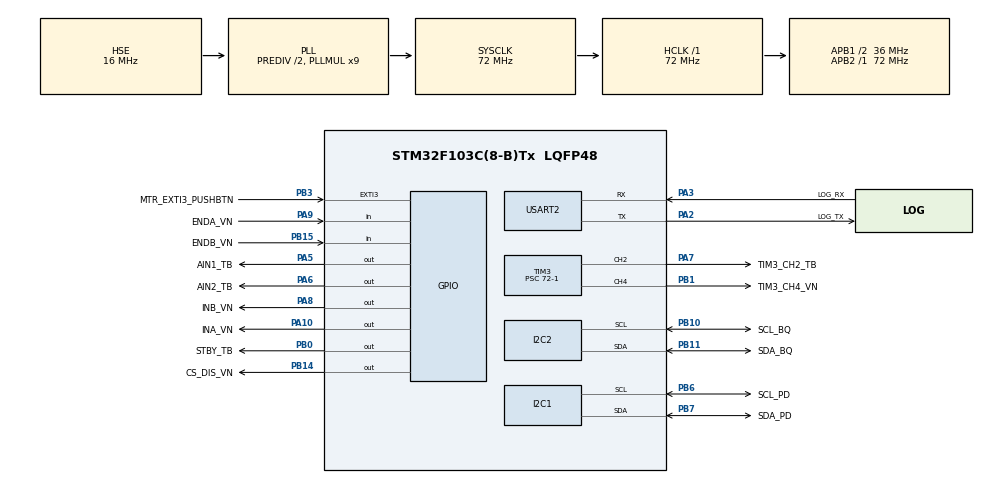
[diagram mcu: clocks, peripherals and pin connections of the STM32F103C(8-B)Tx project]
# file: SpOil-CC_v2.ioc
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FREERTOS.BinarySemaphores01=vnTaskSem,Dynamic,NULL,Available;tbTaskSem,Dynamic,NULL,Available
FREERTOS.Tasks01=tbTask,40,128,tb6612fngTask,Default,NULL,Dynamic,NULL,NULL;apTask,32,128,ap33772sTask,Default,NULL,Dynamic,NULL,NULL;bqTask,24,128,bq25798Task,Default,NULL,Dynamic,NULL,NULL;vnTask,40,128,vnh5180aTask,Default,NULL,Dynamic,NULL,NULL
FREERTOS.configUSE_NEWLIB_REENTRANT=1
Mcu.Family=STM32F1
Mcu.Name=STM32F103C(8-B)Tx
Mcu.Package=LQFP48
NVIC.EXTI3_IRQn=true\:5\:0\:false\:false\:true\:false\:true\:true\:true
NVIC.PriorityGroup=NVIC_PRIORITYGROUP_4
NVIC.TIM2_IRQn=true\:15\:0\:false\:false\:true\:false\:false\:true\:true
NVIC.TimeBase=TIM2_IRQn
NVIC.TimeBaseIP=TIM2
PA10.GPIO_Label=INA_VN
PA10.Signal=GPIO_Output
PA13.GPIO_Label=SWDIO
PA13.Mode=Serial_Wire
PA13.Signal=SYS_JTMS-SWDIO
PA14.GPIO_Label=SWCLK
PA14.Mode=Serial_Wire
PA14.Signal=SYS_JTCK-SWCLK
PA2.GPIO_Label=LOG_TX
PA2.Mode=Asynchronous
PA2.Signal=USART2_TX
PA3.GPIO_Label=LOG_RX
PA3.Mode=Asynchronous
PA3.Signal=USART2_RX
PA5.GPIO_Label=AIN1_TB
PA5.Signal=GPIO_Output
PA6.GPIO_Label=AIN2_TB
PA6.Signal=GPIO_Output
PA7.GPIO_Label=TIM3_CH2_TB
PA7.Signal=S_TIM3_CH2
PA8.GPIO_Label=INB_VN
PA8.Signal=GPIO_Output
PA9.GPIO_Label=ENDA_VN
PA9.Signal=GPIO_Input
PB0.GPIO_Label=STBY_TB
PB0.Signal=GPIO_Output
PB1.GPIO_Label=TIM3_CH4_VN
PB1.Signal=S_TIM3_CH4
PB10.GPIO_Label=SCL_BQ
PB10.Mode=I2C
PB10.Signal=I2C2_SCL
PB11.GPIO_Label=SDA_BQ
PB11.Mode=I2C
PB11.Signal=I2C2_SDA
PB14.GPIO_Label=CS_DIS_VN
PB14.Signal=GPIO_Output
PB15.GPIO_Label=ENDB_VN
PB15.Signal=GPIO_Input
PB3.GPIO_Label=MTR_EXTI3_PUSHBTN
PB3.GPIO_PuPd=GPIO_NOPULL
PB3.Signal=GPXTI3
PB6.GPIO_Label=SCL_PD
PB6.Mode=I2C
PB6.Signal=I2C1_SCL
PB7.GPIO_Label=SDA_PD
PB7.Mode=I2C
PB7.Signal=I2C1_SDA
PD0-OSC_IN.Mode=HSE-External-Oscillator
PD0-OSC_IN.Signal=RCC_OSC_IN
PD1-OSC_OUT.Mode=HSE-External-Oscillator
PD1-OSC_OUT.Signal=RCC_OSC_OUT
ProjectManager.HeapSize=0x200
ProjectManager.StackSize=0x400
ProjectManager.TargetToolchain=STM32CubeIDE
RCC.AHBFreq_Value=72000000
RCC.APB1CLKDivider=RCC_HCLK_DIV2
RCC.APB1Freq_Value=36000000
RCC.APB1TimFreq_Value=72000000
RCC.APB2Freq_Value=72000000
RCC.APB2TimFreq_Value=72000000
RCC.HCLKFreq_Value=72000000
RCC.HSEDivPLL=RCC_HSE_PREDIV_DIV2
RCC.HSE_VALUE=16000000
RCC.PLLMUL=RCC_PLL_MUL9
RCC.PLLSourceVirtual=RCC_PLLSOURCE_HSE
RCC.SYSCLKFreq_VALUE=72000000
RCC.SYSCLKSource=RCC_SYSCLKSOURCE_PLLCLK
RCC.USBFreq_Value=72000000
SH.S_TIM3_CH2.0=TIM3_CH2,PWM Generation2 CH2
SH.S_TIM3_CH4.0=TIM3_CH4,PWM Generation4 CH4
TIM3.Channel-PWM\ Generation2\ CH2=TIM_CHANNEL_2
TIM3.Channel-PWM\ Generation4\ CH4=TIM_CHANNEL_4
TIM3.Period=100
TIM3.Prescaler=72-1
USART2.VirtualMode=VM_ASYNC
VP_FREERTOS_VS_CMSIS_V2.Mode=CMSIS_V2
VP_SYS_VS_tim2.Mode=TIM2
VP_TIM3_VS_ClockSourceINT.Mode=Internal
board=custom

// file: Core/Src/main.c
/*USER CODE BEGIN Header */
/**
  ******************************************************************************
  * @file           : main.c
  * @brief          : Main program body
  ******************************************************************************
  * @attention
  *
  * Copyright (c) 2026 STMicroelectronics.
  * All rights reserved.
  *
  * This software is licensed under terms that can be found in the LICENSE file
  * in the root directory of this software component.
  * If no LICENSE file comes with this software, it is provided AS-IS.
  *
  ******************************************************************************
  */
/* USER CODE END Header */
#include "main.h"
#include "cmsis_os.h"

/* USER CODE BEGIN Includes */
#include "FreeRTOS.h"
#include "semphr.h"
#include "tb6612fng.h"
#include "vnh5180a.h"
#include "bq25798.h"
#include "bq25798_int.h"
#include "bqApp.h"
#include "ap33772s.h"
#include "ap33772s_int.h"
#include "apApp.h"
/* USER CODE END Includes */

I2C_HandleTypeDef hi2c1;
I2C_HandleTypeDef hi2c2;

TIM_HandleTypeDef htim3;

UART_HandleTypeDef huart2;

/* Definitions for tbTask */
osThreadId_t tbTaskHandle;
const osThreadAttr_t tbTask_attributes = {
  .name = "tbTask",
  .stack_size = 128 * 4,
  .priority = (osPriority_t) osPriorityHigh,
};

/* Definitions for apTask */
osThreadId_t apTaskHandle;
const osThreadAttr_t apTask_attributes = {
  .name = "apTask",
  .stack_size = 128 * 4,
  .priority = (osPriority_t) osPriorityAboveNormal,
};

/* Definitions for bqTask */
osThreadId_t bqTaskHandle;
const osThreadAttr_t bqTask_attributes = {
  .name = "bqTask",
  .stack_size = 128 * 4,
  .priority = (osPriority_t) osPriorityNormal,
};

/* Definitions for vnTask */
osThreadId_t vnTaskHandle;
const osThreadAttr_t vnTask_attributes = {
  .name = "vnTask",
  .stack_size = 128 * 4,
  .priority = (osPriority_t) osPriorityHigh,
};

/* Definitions for vnTaskSem */
osSemaphoreId_t vnTaskSemHandle;
const osSemaphoreAttr_t vnTaskSem_attributes = {
  .name = "vnTaskSem"
};

/* Definitions for tbTaskSem */
osSemaphoreId_t tbTaskSemHandle;
const osSemaphoreAttr_t tbTaskSem_attributes = {
  .name = "tbTaskSem"
};

/* USER CODE BEGIN PV */
struct bq25790PartInfo p;
struct bq25790Status1_3 q;
struct bq25790StatusFault r;
byte ap_status;

int vbusVoltagemV;
int vbusCurrentmA;
int linearmotorsequencecounter = 0;
/* USER CODE END PV */

void SystemClock_Config(void);
static void MX_GPIO_Init(void);
static void MX_TIM3_Init(void);
static void MX_USART2_UART_Init(void);
static void MX_I2C1_Init(void);
static void MX_I2C2_Init(void);
void tb6612fngTask(void *argument);
void ap33772sTask(void *argument);
void bq25798Task(void *argument);
void vnh5180aTask(void *argument);

int main(void)
{

  /* MCU Configuration--------------------------------------------------------*/

  /* Reset of all peripherals, Initializes the Flash interface and the Systick. */
  HAL_Init();

  /* Configure the system clock */
  SystemClock_Config();

  /* Initialize all configured peripherals */
  MX_GPIO_Init();
  MX_TIM3_Init();
  MX_USART2_UART_Init();
  MX_I2C1_Init();
  MX_I2C2_Init();
  /* USER CODE BEGIN 2 */

	tbSetStndbyPin(LOW);

  /* USER CODE END 2 */

  /* Init scheduler */
  osKernelInitialize();

  /* Create the semaphores(s) */
  /* creation of vnTaskSem */
  vnTaskSemHandle = osSemaphoreNew(1, 0, &vnTaskSem_attributes);

  /* creation of tbTaskSem */
  tbTaskSemHandle = osSemaphoreNew(1, 0, &tbTaskSem_attributes);

  /* Create the thread(s) */
  /* creation of tbTask */
  tbTaskHandle = osThreadNew(tb6612fngTask, NULL, &tbTask_attributes);

  /* creation of apTask */
  apTaskHandle = osThreadNew(ap33772sTask, NULL, &apTask_attributes);

  /* creation of bqTask */
  bqTaskHandle = osThreadNew(bq25798Task, NULL, &bqTask_attributes);

  /* creation of vnTask */
  vnTaskHandle = osThreadNew(vnh5180aTask, NULL, &vnTask_attributes);

  /* Start scheduler */
  osKernelStart();

  /* We should never get here as control is now taken by the scheduler */

  /* Infinite loop */
  while (1)
  {

  }
}

void SystemClock_Config(void)
{
  RCC_OscInitTypeDef RCC_OscInitStruct = {0};
  RCC_ClkInitTypeDef RCC_ClkInitStruct = {0};

  /** Initializes the RCC Oscillators according to the specified parameters
  * in the RCC_OscInitTypeDef structure.
  */
  RCC_OscInitStruct.OscillatorType = RCC_OSCILLATORTYPE_HSE;
  RCC_OscInitStruct.HSEState = RCC_HSE_ON;
  RCC_OscInitStruct.HSEPredivValue = RCC_HSE_PREDIV_DIV2;
  RCC_OscInitStruct.HSIState = RCC_HSI_ON;
  RCC_OscInitStruct.PLL.PLLState = RCC_PLL_ON;
  RCC_OscInitStruct.PLL.PLLSource = RCC_PLLSOURCE_HSE;
  RCC_OscInitStruct.PLL.PLLMUL = RCC_PLL_MUL9;
  if (HAL_RCC_OscConfig(&RCC_OscInitStruct) != HAL_OK)
  {
    Error_Handler();
  }

  /** Initializes the CPU, AHB and APB buses clocks
  */
  RCC_ClkInitStruct.ClockType = RCC_CLOCKTYPE_HCLK|RCC_CLOCKTYPE_SYSCLK
                              |RCC_CLOCKTYPE_PCLK1|RCC_CLOCKTYPE_PCLK2;
  RCC_ClkInitStruct.SYSCLKSource = RCC_SYSCLKSOURCE_PLLCLK;
  RCC_ClkInitStruct.AHBCLKDivider = RCC_SYSCLK_DIV1;
  RCC_ClkInitStruct.APB1CLKDivider = RCC_HCLK_DIV2;
  RCC_ClkInitStruct.APB2CLKDivider = RCC_HCLK_DIV1;

  if (HAL_RCC_ClockConfig(&RCC_ClkInitStruct, FLASH_LATENCY_2) != HAL_OK)
  {
    Error_Handler();
  }
}

static void MX_I2C1_Init(void)
{

  hi2c1.Instance = I2C1;
  hi2c1.Init.ClockSpeed = 100000;
  hi2c1.Init.DutyCycle = I2C_DUTYCYCLE_2;
  hi2c1.Init.OwnAddress1 = 0;
  hi2c1.Init.AddressingMode = I2C_ADDRESSINGMODE_7BIT;
  hi2c1.Init.DualAddressMode = I2C_DUALADDRESS_DISABLE;
  hi2c1.Init.OwnAddress2 = 0;
  hi2c1.Init.GeneralCallMode = I2C_GENERALCALL_DISABLE;
  hi2c1.Init.NoStretchMode = I2C_NOSTRETCH_DISABLE;
  if (HAL_I2C_Init(&hi2c1) != HAL_OK)
  {
    Error_Handler();
  }

}

static void MX_I2C2_Init(void)
{

  hi2c2.Instance = I2C2;
  hi2c2.Init.ClockSpeed = 100000;
  hi2c2.Init.DutyCycle = I2C_DUTYCYCLE_2;
  hi2c2.Init.OwnAddress1 = 0;
  hi2c2.Init.AddressingMode = I2C_ADDRESSINGMODE_7BIT;
  hi2c2.Init.DualAddressMode = I2C_DUALADDRESS_DISABLE;
  hi2c2.Init.OwnAddress2 = 0;
  hi2c2.Init.GeneralCallMode = I2C_GENERALCALL_DISABLE;
  hi2c2.Init.NoStretchMode = I2C_NOSTRETCH_DISABLE;
  if (HAL_I2C_Init(&hi2c2) != HAL_OK)
  {
    Error_Handler();
  }

}

static void MX_TIM3_Init(void)
{

  TIM_ClockConfigTypeDef sClockSourceConfig = {0};
  TIM_MasterConfigTypeDef sMasterConfig = {0};
  TIM_OC_InitTypeDef sConfigOC = {0};

  htim3.Instance = TIM3;
  htim3.Init.Prescaler = 72-1;
  htim3.Init.CounterMode = TIM_COUNTERMODE_UP;
  htim3.Init.Period = 100;
  htim3.Init.ClockDivision = TIM_CLOCKDIVISION_DIV1;
  htim3.Init.AutoReloadPreload = TIM_AUTORELOAD_PRELOAD_DISABLE;
  if (HAL_TIM_Base_Init(&htim3) != HAL_OK)
  {
    Error_Handler();
  }
  sClockSourceConfig.ClockSource = TIM_CLOCKSOURCE_INTERNAL;
  if (HAL_TIM_ConfigClockSource(&htim3, &sClockSourceConfig) != HAL_OK)
  {
    Error_Handler();
  }
  if (HAL_TIM_PWM_Init(&htim3) != HAL_OK)
  {
    Error_Handler();
  }
  sMasterConfig.MasterOutputTrigger = TIM_TRGO_RESET;
  sMasterConfig.MasterSlaveMode = TIM_MASTERSLAVEMODE_DISABLE;
  if (HAL_TIMEx_MasterConfigSynchronization(&htim3, &sMasterConfig) != HAL_OK)
  {
    Error_Handler();
  }
  sConfigOC.OCMode = TIM_OCMODE_PWM1;
  sConfigOC.Pulse = 0;
  sConfigOC.OCPolarity = TIM_OCPOLARITY_HIGH;
  sConfigOC.OCFastMode = TIM_OCFAST_DISABLE;
  if (HAL_TIM_PWM_ConfigChannel(&htim3, &sConfigOC, TIM_CHANNEL_2) != HAL_OK)
  {
    Error_Handler();
  }
  if (HAL_TIM_PWM_ConfigChannel(&htim3, &sConfigOC, TIM_CHANNEL_4) != HAL_OK)
  {
    Error_Handler();
  }
  HAL_TIM_MspPostInit(&htim3);

}

static void MX_USART2_UART_Init(void)
{

  huart2.Instance = USART2;
  huart2.Init.BaudRate = 115200;
  huart2.Init.WordLength = UART_WORDLENGTH_8B;
  huart2.Init.StopBits = UART_STOPBITS_1;
  huart2.Init.Parity = UART_PARITY_NONE;
  huart2.Init.Mode = UART_MODE_TX_RX;
  huart2.Init.HwFlowCtl = UART_HWCONTROL_NONE;
  huart2.Init.OverSampling = UART_OVERSAMPLING_16;
  if (HAL_UART_Init(&huart2) != HAL_OK)
  {
    Error_Handler();
  }

}

static void MX_GPIO_Init(void)
{
  GPIO_InitTypeDef GPIO_InitStruct = {0};

  /* GPIO Ports Clock Enable */
  __HAL_RCC_GPIOD_CLK_ENABLE();
  __HAL_RCC_GPIOA_CLK_ENABLE();
  __HAL_RCC_GPIOB_CLK_ENABLE();

  /*Configure GPIO pin Output Level */
  HAL_GPIO_WritePin(GPIOA, AIN1_TB_Pin|AIN2_TB_Pin|INB_VN_Pin|INA_VN_Pin, GPIO_PIN_RESET);

  /*Configure GPIO pin Output Level */
  HAL_GPIO_WritePin(GPIOB, STBY_TB_Pin|CS_DIS_VN_Pin, GPIO_PIN_RESET);

  /*Configure GPIO pins : AIN1_TB_Pin AIN2_TB_Pin INB_VN_Pin INA_VN_Pin */
  GPIO_InitStruct.Pin = AIN1_TB_Pin|AIN2_TB_Pin|INB_VN_Pin|INA_VN_Pin;
  GPIO_InitStruct.Mode = GPIO_MODE_OUTPUT_PP;
  GPIO_InitStruct.Pull = GPIO_NOPULL;
  GPIO_InitStruct.Speed = GPIO_SPEED_FREQ_LOW;
  HAL_GPIO_Init(GPIOA, &GPIO_InitStruct);

  /*Configure GPIO pins : STBY_TB_Pin CS_DIS_VN_Pin */
  GPIO_InitStruct.Pin = STBY_TB_Pin|CS_DIS_VN_Pin;
  GPIO_InitStruct.Mode = GPIO_MODE_OUTPUT_PP;
  GPIO_InitStruct.Pull = GPIO_NOPULL;
  GPIO_InitStruct.Speed = GPIO_SPEED_FREQ_LOW;
  HAL_GPIO_Init(GPIOB, &GPIO_InitStruct);

  /*Configure GPIO pin : ENDB_VN_Pin */
  GPIO_InitStruct.Pin = ENDB_VN_Pin;
  GPIO_InitStruct.Mode = GPIO_MODE_INPUT;
  GPIO_InitStruct.Pull = GPIO_NOPULL;
  HAL_GPIO_Init(ENDB_VN_GPIO_Port, &GPIO_InitStruct);

  /*Configure GPIO pin : ENDA_VN_Pin */
  GPIO_InitStruct.Pin = ENDA_VN_Pin;
  GPIO_InitStruct.Mode = GPIO_MODE_INPUT;
  GPIO_InitStruct.Pull = GPIO_NOPULL;
  HAL_GPIO_Init(ENDA_VN_GPIO_Port, &GPIO_InitStruct);

  /*Configure GPIO pin : MTR_EXTI3_PUSHBTN_Pin */
  GPIO_InitStruct.Pin = MTR_EXTI3_PUSHBTN_Pin;
  GPIO_InitStruct.Mode = GPIO_MODE_IT_RISING;
  GPIO_InitStruct.Pull = GPIO_NOPULL;
  HAL_GPIO_Init(MTR_EXTI3_PUSHBTN_GPIO_Port, &GPIO_InitStruct);

  /* EXTI interrupt init*/
  HAL_NVIC_SetPriority(EXTI3_IRQn, 5, 0);
  HAL_NVIC_EnableIRQ(EXTI3_IRQn);

}

/* USER CODE BEGIN 4 */
void HAL_GPIO_EXTI_Callback(uint16_t GPIO_Pin)
{
	  BaseType_t xHigherPriorityTaskWoken = pdFALSE;

  if(GPIO_Pin == GPIO_PIN_3) {
	  __HAL_GPIO_EXTI_CLEAR_IT(GPIO_PIN_3);

	  xSemaphoreGiveFromISR(tbTaskSemHandle, &xHigherPriorityTaskWoken);
	  xSemaphoreGiveFromISR(vnTaskSemHandle, &xHigherPriorityTaskWoken);

	  portYIELD_FROM_ISR(xHigherPriorityTaskWoken);
  } else {
      __NOP();
  }
}
/* USER CODE END 4 */

void tb6612fngTask(void *argument)
{
  /* USER CODE BEGIN 5 */
	tbPmwStart();
	tbSetStndbyPin(LOW);
  /* Infinite loop */
for(;;)
{
	osSemaphoreAcquire(tbTaskSemHandle, osWaitForever);

    tbMotorCycles(12, 38, 38, 2, 15, 5);

	osDelay(2500);
}
  /* USER CODE END 5 */
}

void ap33772sTask(void *argument)
{
  /* USER CODE BEGIN ap33772sTask */
  ap_ref apdev = ap_init(&apbus);
  	 ap_set_output(apdev, 1);
  /* Infinite loop */
  for(;;)
  {
	 ap_get_power_capabilities(apdev);
	 ap_print_profiles(apdev);

     ap_read_status(apdev, &ap_status);

	 ap_request_pps(apdev, 5, 10500, 3100);

	 ap_read_voltage(apdev, &vbusVoltagemV);
	 ap_log_voltage(apdev, vbusVoltagemV);

	 ap_read_current(apdev, &vbusCurrentmA);
	 ap_log_current(apdev, vbusCurrentmA);

	 ap_delay(apdev, 2500);
  }
  /* USER CODE END ap33772sTask */
}

void bq25798Task(void *argument)
{
  /* USER CODE BEGIN bq25798Task */
  bq_ref bqdev = bq_init(&bqbus);
      bqSetWatchdogTimer(bqdev, WDT_DISABLE);
//	  bqSetReg(bqdev, 0x0A, 6, 0xC0, 0x02);

	  bqSetMinimalSystemVoltageLimit(bqdev, 9200);

	  bqSetChargeVoltageLimit(bqdev, 12600);
	  bqSetChargeCurrentLimit(bqdev, 1);
  /* Infinite loop */
  for(;;)
  {
//      bqSetReg(bqdev, 0x10, 3, 0x08, 1);
	  bqSetTsIgnore(bqdev, 1);

	  bqReadStatus1_3(bqdev, &q);
	  bqLogChargerStatusFault(bqdev, &q);

	  bqReadStatusFault(bqdev, &r);
	  bqLogStatusFault(bqdev, &r);

	  bqReadVBus(bqdev);
	  bqReadIBus(bqdev);

	  bqReadVSys(bqdev);

	  bqReadVBat(bqdev);
	  bqReadIBat(bqdev);

	  bq_delay(bqdev, 1250);
  }
  /* USER CODE END bq25798Task */
}

void vnh5180aTask(void *argument)
{
  /* USER CODE BEGIN vnh5180aTask */
	vnPmwStart();
  /* Infinite loop */
  for(;;)
  {
	  osSemaphoreAcquire(vnTaskSemHandle, osWaitForever);
	  vnMotorDriveDuration(20000, 0, 40);

	  osDelay(2500);
  }
  /* USER CODE END vnh5180aTask */
}

void HAL_TIM_PeriodElapsedCallback(TIM_HandleTypeDef *htim)
{
  if (htim->Instance == TIM2)
  {
    HAL_IncTick();
  }
}

void Error_Handler(void)
{
  __disable_irq();
  while (1)
  {
  }
}
